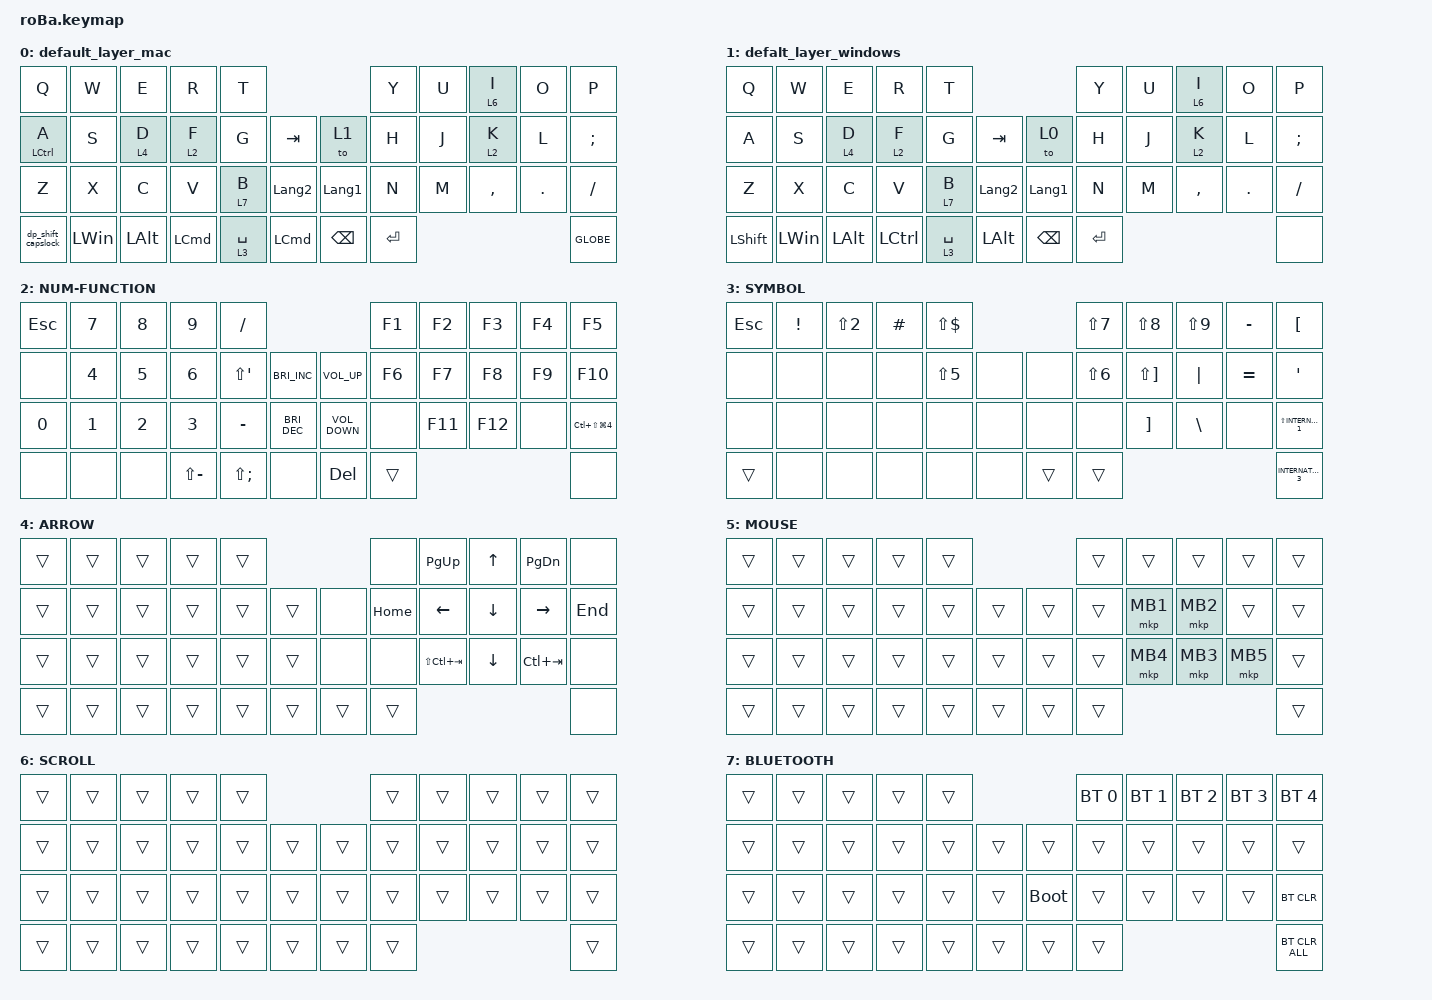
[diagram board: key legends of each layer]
#include <behaviors.dtsi>
#include <dt-bindings/zmk/bt.h>
#include <dt-bindings/zmk/keys.h>
#include <dt-bindings/zmk/pointing.h>

&mt {
    flavor = "balanced";
    quick-tap-ms = <0>;
};

&trackball {
    automouse-layer = <5>;
    scroll-layers = <6>;
};

/ {
    combos { compatible = "zmk,combos"; };

    macros {
        to_layer_0: to_layer_0 {
            compatible = "zmk,behavior-macro-one-param";
            #binding-cells = <1>;
            bindings = <&to 0 &macro_param_1to1 &kp MACRO_PLACEHOLDER>;
            label = "TO_LAYER_0";
        };
    };

    behaviors {
        lt_to_layer_0: lt_to_layer_0 {
            compatible = "zmk,behavior-hold-tap";
            label = "LAYER_TAP_TO_0";
            bindings = <&mo>, <&to_layer_0>;

            #binding-cells = <2>;
            tapping-term-ms = <200>;
        };

        dp_shift_capslock: dp_shift_capslock {
            compatible = "zmk,behavior-tap-dance";
            label = "DP_SHIFT_CAPSLOCK";
            #binding-cells = <0>;
            bindings = <&kp LEFT_SHIFT>, <&kp CAPS>;
        };
    };

    keymap {
        compatible = "zmk,keymap";

        default_layer_mac {
            bindings = <
&kp Q               &kp W         &kp E         &kp R             &kp T                                              &kp Y    &kp U  &lt 6 I    &kp O    &kp P
&mt LEFT_CONTROL A  &kp S         &lt 4 D       &lt 2 F           &kp G        &kp TAB               &to 1           &kp H    &kp J  &lt 2 K    &kp L    &kp SEMI
&kp Z               &kp X         &kp C         &kp V             &lt 7 B      &kp LANGUAGE_2        &kp LANGUAGE_1  &kp N    &kp M  &kp COMMA  &kp DOT  &kp SLASH
&dp_shift_capslock  &kp LEFT_WIN  &kp LEFT_ALT  &kp LEFT_COMMAND  &lt 3 SPACE  &kp LEFT_COMMAND      &kp BACKSPACE   &kp RET                             &kp GLOBE
            >;
        };

        defalt_layer_windows {
            bindings = <
&kp Q           &kp W         &kp E         &kp R             &kp T                                            &kp Y    &kp U  &lt 6 I    &kp O    &kp P
&kp A           &kp S         &lt 4 D       &lt 2 F           &kp G        &kp TAB             &to 0           &kp H    &kp J  &lt 2 K    &kp L    &kp SEMI
&kp Z           &kp X         &kp C         &kp V             &lt 7 B      &kp LANGUAGE_2      &kp LANGUAGE_1  &kp N    &kp M  &kp COMMA  &kp DOT  &kp SLASH
&kp LEFT_SHIFT  &kp LEFT_WIN  &kp LEFT_ALT  &kp LEFT_CONTROL  &lt 3 SPACE  &kp LEFT_ALT        &kp BACKSPACE   &kp RET                             &none
            >;
        };

        NUM-FUNCTION {
            bindings = <
&kp ESCAPE  &kp N7  &kp N8  &kp N9         &kp SLASH                                                  &kp F1  &kp F2   &kp F3   &kp F4  &kp F5
&none       &kp N4  &kp N5  &kp N6         &kp LS(APOS)  &kp C_BRIGHTNESS_INC      &kp C_VOL_UP       &kp F6  &kp F7   &kp F8   &kp F9  &kp F10
&kp N0      &kp N1  &kp N2  &kp N3         &kp MINUS     &kp C_BRIGHTNESS_DEC      &kp C_VOLUME_DOWN  &none   &kp F11  &kp F12  &none   &kp LC(LS(LG(NUMBER_4)))
&none       &none   &none   &kp LS(MINUS)  &kp LS(SEMI)  &none                     &kp DELETE         &trans                            &none
            >;
        };

        SYMBOL {
            bindings = <
&kp ESCAPE  &kp EXCL  &kp LS(N2)  &kp HASH  &kp LS(DOLLAR)                     &kp LS(N7)  &kp LS(N8)    &kp LS(N9)     &kp MINUS  &kp LBKT
&none       &none     &none       &none     &kp LS(N5)      &none      &none   &kp LS(N6)  &kp LS(RBKT)  &kp PIPE       &kp EQUAL  &kp APOS
&none       &none     &none       &none     &none           &none      &none   &none       &kp RBKT      &kp BACKSLASH  &none      &kp LS(INTERNATIONAL_1)
&trans      &none     &none       &none     &none           &none      &trans  &trans                                              &kp INTERNATIONAL_3
            >;
        };

        ARROW {
            bindings = <
&trans  &trans  &trans  &trans  &trans                      &none     &kp PAGE_UP      &kp UP_ARROW    &kp PAGE_DOWN    &none
&trans  &trans  &trans  &trans  &trans  &trans      &none   &kp HOME  &kp LEFT_ARROW   &kp DOWN        &kp RIGHT_ARROW  &kp END
&trans  &trans  &trans  &trans  &trans  &trans      &none   &none     &kp LS(LC(TAB))  &kp DOWN_ARROW  &kp LC(TAB)      &none
&trans  &trans  &trans  &trans  &trans  &trans      &trans  &trans                                                      &none
            >;
        };

        MOUSE {
            bindings = <
&trans  &trans  &trans  &trans  &trans                      &trans  &trans    &trans    &trans    &trans
&trans  &trans  &trans  &trans  &trans  &trans      &trans  &trans  &mkp MB1  &mkp MB2  &trans    &trans
&trans  &trans  &trans  &trans  &trans  &trans      &trans  &trans  &mkp MB4  &mkp MB3  &mkp MB5  &trans
&trans  &trans  &trans  &trans  &trans  &trans      &trans  &trans                                &trans
            >;
        };

        SCROLL {
            bindings = <
&trans  &trans  &trans  &trans  &trans                      &trans  &trans  &trans  &trans  &trans
&trans  &trans  &trans  &trans  &trans  &trans      &trans  &trans  &trans  &trans  &trans  &trans
&trans  &trans  &trans  &trans  &trans  &trans      &trans  &trans  &trans  &trans  &trans  &trans
&trans  &trans  &trans  &trans  &trans  &trans      &trans  &trans                          &trans
            >;
        };

        BLUETOOTH {
            bindings = <
&trans  &trans  &trans  &trans  &trans                           &bt BT_SEL 0  &bt BT_SEL 1  &bt BT_SEL 2  &bt BT_SEL 3  &bt BT_SEL 4
&trans  &trans  &trans  &trans  &trans  &trans      &trans       &trans        &trans        &trans        &trans        &trans
&trans  &trans  &trans  &trans  &trans  &trans      &bootloader  &trans        &trans        &trans        &trans        &bt BT_CLR
&trans  &trans  &trans  &trans  &trans  &trans      &trans       &trans                                                  &bt BT_CLR_ALL
            >;
        };
    };
};
